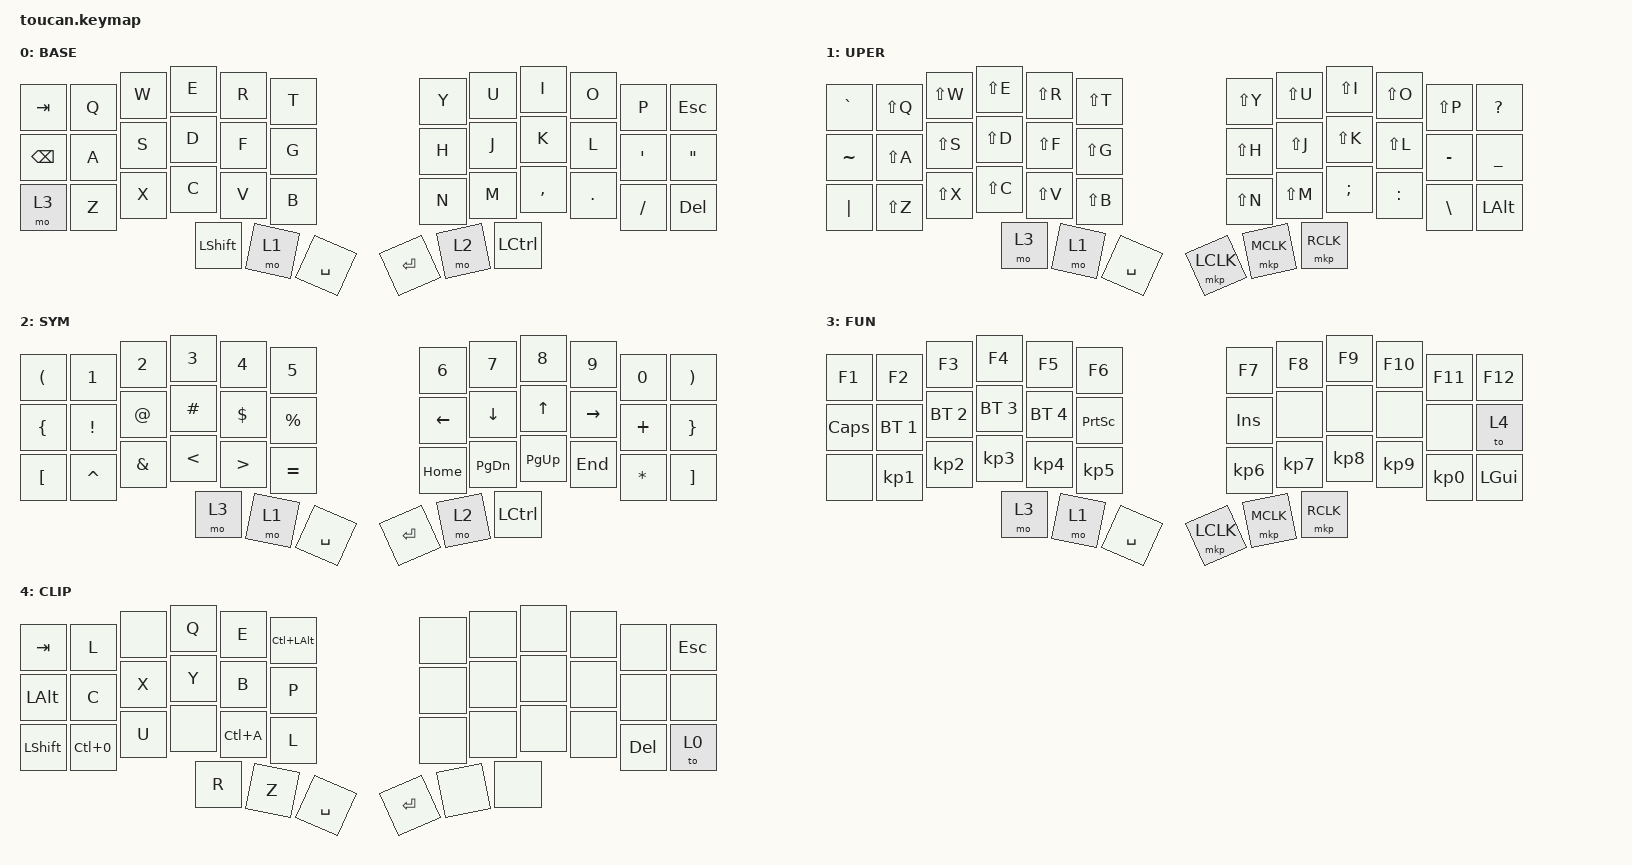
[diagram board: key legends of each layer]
#include <behaviors.dtsi>
#include <dt-bindings/zmk/keys.h>
#include <dt-bindings/zmk/bt.h>
#include <dt-bindings/zmk/outputs.h>
#include <dt-bindings/zmk/pointing.h>

#define BASE 0
#define UPER  1
#define SYM  2
#define FUN  3
#define CLIP  4

/ {
    keymap {
        compatible = "zmk,keymap";

        base {
            display-name = "BASE";
            bindings = <
                &kp TAB   &kp Q  &kp W  &kp E       &kp R  &kp T       &kp Y    &kp U  &kp I       &kp O    &kp P      &kp ESC
                &kp BSPC  &kp A  &kp S  &kp D       &kp F  &kp G       &kp H    &kp J  &kp K       &kp L    &kp SQT    &kp DQT
                &mo 3     &kp Z  &kp X  &kp C       &kp V  &kp B       &kp N    &kp M  &kp COMMA   &kp DOT  &kp SLASH  &kp DEL
                                        &kp LSHIFT  &mo 1  &kp SPACE   &kp RET  &mo 2  &kp LCTRL
            >;
        };

        uper {
            display-name = "UPER";
            bindings = <
                &kp GRAVE  &kp LS(Q)  &kp LS(W)  &kp LS(E)  &kp LS(R)  &kp LS(T)     &kp LS(Y)  &kp LS(U)  &kp LS(I)  &kp LS(O)  &kp LS(P)  &kp QMARK
                &kp TILDE  &kp LS(A)  &kp LS(S)  &kp LS(D)  &kp LS(F)  &kp LS(G)     &kp LS(H)  &kp LS(J)  &kp LS(K)  &kp LS(L)  &kp MINUS  &kp UNDER
                &kp PIPE   &kp LS(Z)  &kp LS(X)  &kp LS(C)  &kp LS(V)  &kp LS(B)     &kp LS(N)  &kp LS(M)  &kp SCLN   &kp COLON  &kp BSLH   &kp LALT
                                                 &mo 3      &mo 1      &kp SPACE     &mkp LCLK  &mkp MCLK  &mkp RCLK
            >;
        };

        sym {
            display-name = "SYM";
            bindings = <
                &kp LPAR  &kp N1     &kp N2    &kp N3    &kp N4    &kp N5       &kp N6     &kp N7     &kp N8     &kp N9     &kp N0    &kp RPAR
                &kp LBRC  &kp EXCL   &kp AT    &kp HASH  &kp DLLR  &kp PRCNT    &kp LEFT   &kp DOWN   &kp UP     &kp RIGHT  &kp PLUS  &kp RBRC
                &kp LBKT  &kp CARET  &kp AMPS  &kp LT    &kp GT    &kp EQUAL    &kp HOME   &kp PG_DN  &kp PG_UP  &kp END    &kp STAR  &kp RBKT
                                                         &mo 3     &mo 1        &kp SPACE  &kp RET    &mo 2      &kp LCTRL
            >;
        };

        fun {
            display-name = "FUN";
            bindings = <
                &kp F1    &kp F2        &kp F3        &kp F4        &kp F5        &kp F6       &kp F7     &kp F8     &kp F9     &kp F10    &kp F11    &kp F12
                &kp CAPS  &bt BT_SEL 1  &bt BT_SEL 2  &bt BT_SEL 3  &bt BT_SEL 4  &kp PSCRN    &kp INS    &none      &none      &none      &none      &to 4
                &none     &kp KP_N1     &kp KP_N2     &kp KP_N3     &kp KP_N4     &kp KP_N5    &kp KP_N6  &kp KP_N7  &kp KP_N8  &kp KP_N9  &kp KP_N0  &kp LGUI
                                                      &mo 3         &mo 1         &kp SPACE    &mkp LCLK  &mkp MCLK  &mkp RCLK
            >;
        };

        clip {
            display-name = "CLIP";
            bindings = <
                &kp TAB     &kp L       &none  &kp Q  &kp E      &kp LC(LALT)  &none  &none  &none  &none  &none    &kp ESC
                &kp LALT    &kp C       &kp X  &kp Y  &kp B      &kp P         &none  &none  &none  &none  &none    &none
                &kp LSHIFT  &kp LC(N0)  &kp U  &none  &kp LC(A)  &kp L         &none  &none  &none  &none  &kp DEL  &to 0
                                               &kp R  &kp Z      &kp SPACE     &kp RET  &none  &none
            >;
        };

        extra_1 {
                status = "reserved";
        };

        extra_2 {
                status = "reserved";
        };

        extra_3 {
                status = "reserved";
        };
    };
};
